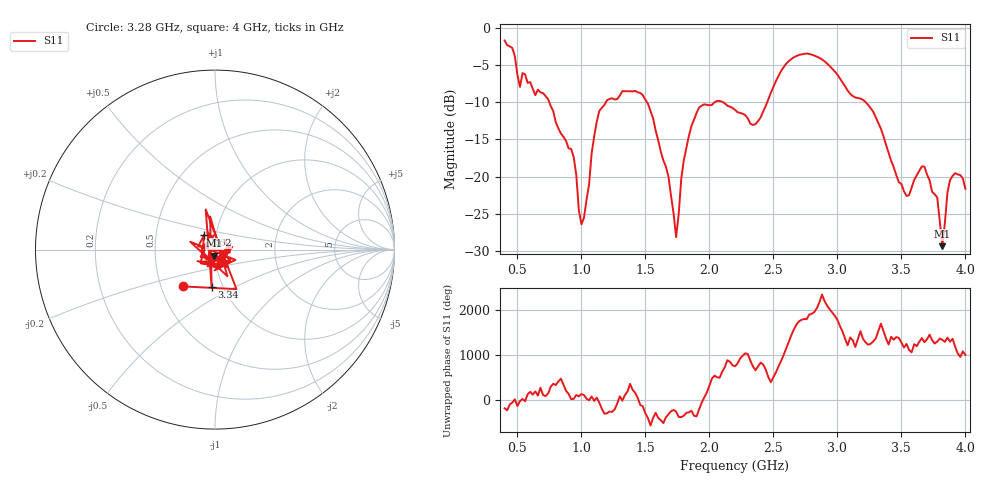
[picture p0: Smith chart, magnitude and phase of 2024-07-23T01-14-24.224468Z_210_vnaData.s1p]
!Created with skrf (http://scikit-rf.org).
# Hz S RI R 50.0
!freq ReS11 ImS11
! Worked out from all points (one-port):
!   181 points, 400 MHz to 4 GHz, reference 50 ohm
!   lowest |S11| = -29.4 dB at 3.82 GHz (marker M1), VSWR 1.07, Z = 49.5 - j3.36 ohm
!   |S11| at or under -10 dB: 749.1 MHz to 1.191 GHz (442.1 MHz wide, 45.6 % of centre); 1.512 GHz to 2.04 GHz (527.2 MHz wide, 29.7 % of centre); 3.222 GHz to end of sweep (the widest 3 of 4)
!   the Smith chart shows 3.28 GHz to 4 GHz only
!   S11 on the Smith chart (normalised r, x): 3.28 GHz: 0.65, -0.29; 3.34 GHz: 0.88, -0.39; 3.62 GHz: 0.88, +0.15; 4 GHz: 1.05, -0.16
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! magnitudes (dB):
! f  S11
! 400 MHz  -1.7
! 520 MHz  -7.9
! 720 MHz  -9.2
! 860 MHz  -14.7
! 940 MHz  -17.4
! 1 GHz  -26.4
! 1.14 GHz  -11.2
! 1.3 GHz  -9.1
! 1.52 GHz  -10.2
! 1.68 GHz  -20.0
! 1.74 GHz  -28.1
! 1.76 GHz  -25.1
! 1.8 GHz  -17.8
! 1.92 GHz  -10.7
! 2.2 GHz  -11.0
! 2.36 GHz  -12.9
! 2.66 GHz  -3.9
! 2.88 GHz  -4.2
! 3.1 GHz  -8.9
! 3.28 GHz  -11.3
! 3.34 GHz  -13.6
! 3.56 GHz  -22.5
! 3.62 GHz  -19.8
! 3.68 GHz  -18.7
! 3.78 GHz  -22.8
! 3.82 GHz  -29.4
! 3.88 GHz  -20.5
! 4 GHz  -21.6
